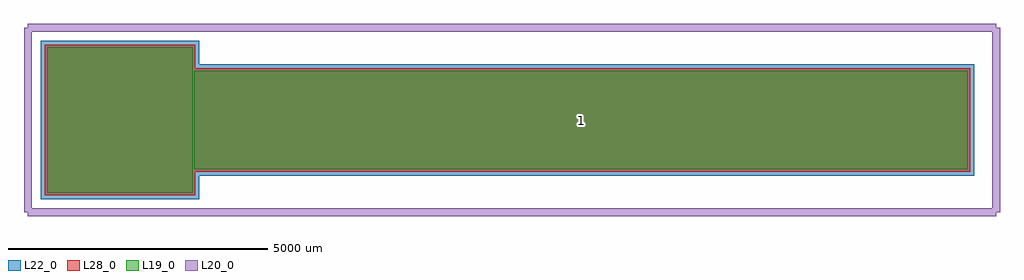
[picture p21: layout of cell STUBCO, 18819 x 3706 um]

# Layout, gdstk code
import gdstk
lib = gdstk.Library(unit=1e-6, precision=1e-09)
def R(c, l, rs):  # rectangles x0, y0, x1, y1
    for r in rs: c.add(gdstk.rectangle(r[:2], r[2:], *l))
L19_0 = (19, 0)
L20_0 = (20, 0)
L22_0 = (22, 0)
L28_0 = (28, 0)

stubco = lib.new_cell('STUBCO')
R(stubco, L19_0, [(-9020.34,-1400.34,-6219.66,1400.34), (-6185.7,-950.76,8725.7,950.76)])
R(stubco, L22_0, [(-9145.34,-1525.34,-6094.66,1525.34), (-6310.7,-1075.76,8850.7,1075.76)])
R(stubco, L28_0, [(-9070.34,-1450.34,-6169.66,1450.34), (-6235.7,-1000.76,8775.7,1000.76)])
stubco.add(gdstk.FlexPath([(9271,1778),(9271,-1778)], 149.998, ends="flush", simple_path=True, layer=20, datatype=0))  # L20_0
stubco.add(gdstk.FlexPath([(9271,1778),(-9398,1778)], 149.998, ends="flush", simple_path=True, layer=20, datatype=0))  # L20_0
stubco.add(gdstk.FlexPath([(-9398,-1778),(9271,-1778)], 149.998, ends="flush", simple_path=True, layer=20, datatype=0))  # L20_0
stubco.add(gdstk.FlexPath([(-9398,1778),(-9398,-1778)], 149.998, ends="flush", simple_path=True, layer=20, datatype=0))  # L20_0
stubco.add(gdstk.Label('1', (1270,0), layer=28, texttype=0))
stubco.add(gdstk.Label('type', (4826,-2794), layer=9, texttype=0))
stubco.add(gdstk.Label('devicename', (-4953,-2794), layer=9, texttype=0))

lib.write_gds('STUBCO.gds')
